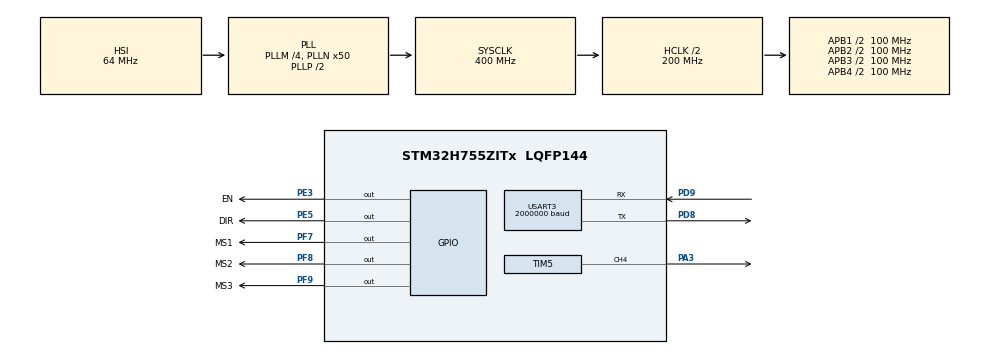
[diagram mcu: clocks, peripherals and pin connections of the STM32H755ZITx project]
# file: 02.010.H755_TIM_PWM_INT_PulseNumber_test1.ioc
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CortexM4.IPs=FATFS_M4\:I,FREERTOS_M4\:I,IWDG2\:I,RCC,WWDG2\:I,DMA,BDMA,MDMA,NVIC2\:I,ETH,DEBUG,PDM2PCM_M4\:I,PWR,RESMGR_UTILITY,SYS_M4\:I,USB_DEVICE_M4\:I,USB_HOST_M4\:I,CORTEX_M4\:I,GPIO,OPENAMP_M4\:I,VREFBUF,NUCLEO-H755ZI-Q
CortexM7.IPs=FATFS_M7\:I,FREERTOS_M7\:I,IWDG1\:I,RCC\:I,WWDG1\:I,DMA\:I,BDMA\:I,MDMA\:I,NVIC1\:I,ETH\:I,USB_OTG_FS\:I,SYS\:I,CORTEX_M7\:I,DEBUG\:I,PDM2PCM_M7\:I,PWR\:I,RESMGR_UTILITY\:I,USB_DEVICE_M7\:I,USB_HOST_M7\:I,GPIO\:I,OPENAMP_M7\:I,VREFBUF\:I,NUCLEO-H755ZI-Q\:I,TIM5\:I,USART3\:I
CortexM7.Pins=PE3,PE5,PF7,PF8,PF9
Dma.Request0=USART3_TX
Dma.Request1=USART3_RX
Dma.USART3_RX.1.Direction=DMA_PERIPH_TO_MEMORY
Dma.USART3_RX.1.EventEnable=DISABLE
Dma.USART3_RX.1.FIFOMode=DMA_FIFOMODE_DISABLE
Dma.USART3_RX.1.Instance=DMA1_Stream1
Dma.USART3_RX.1.MemDataAlignment=DMA_MDATAALIGN_BYTE
Dma.USART3_RX.1.MemInc=DMA_MINC_ENABLE
Dma.USART3_RX.1.Mode=DMA_CIRCULAR
Dma.USART3_RX.1.PeriphDataAlignment=DMA_PDATAALIGN_BYTE
Dma.USART3_RX.1.PeriphInc=DMA_PINC_DISABLE
Dma.USART3_RX.1.Polarity=HAL_DMAMUX_REQ_GEN_RISING
Dma.USART3_RX.1.Priority=DMA_PRIORITY_LOW
Dma.USART3_RX.1.RequestNumber=1
Dma.USART3_RX.1.SignalID=NONE
Dma.USART3_RX.1.SyncEnable=DISABLE
Dma.USART3_RX.1.SyncPolarity=HAL_DMAMUX_SYNC_NO_EVENT
Dma.USART3_RX.1.SyncRequestNumber=1
Dma.USART3_RX.1.SyncSignalID=NONE
Dma.USART3_TX.0.Direction=DMA_MEMORY_TO_PERIPH
Dma.USART3_TX.0.EventEnable=DISABLE
Dma.USART3_TX.0.FIFOMode=DMA_FIFOMODE_DISABLE
Dma.USART3_TX.0.Instance=DMA1_Stream0
Dma.USART3_TX.0.MemDataAlignment=DMA_MDATAALIGN_BYTE
Dma.USART3_TX.0.MemInc=DMA_MINC_ENABLE
Dma.USART3_TX.0.Mode=DMA_NORMAL
Dma.USART3_TX.0.PeriphDataAlignment=DMA_PDATAALIGN_BYTE
Dma.USART3_TX.0.PeriphInc=DMA_PINC_DISABLE
Dma.USART3_TX.0.Polarity=HAL_DMAMUX_REQ_GEN_RISING
Dma.USART3_TX.0.Priority=DMA_PRIORITY_LOW
Dma.USART3_TX.0.RequestNumber=1
Dma.USART3_TX.0.SignalID=NONE
Dma.USART3_TX.0.SyncEnable=DISABLE
Dma.USART3_TX.0.SyncPolarity=HAL_DMAMUX_SYNC_NO_EVENT
Dma.USART3_TX.0.SyncRequestNumber=1
Dma.USART3_TX.0.SyncSignalID=NONE
Mcu.Family=STM32H7
Mcu.Name=STM32H755ZITx
Mcu.Package=LQFP144
NVIC1.DMA1_Stream0_IRQn=true\:3\:0\:true\:false\:true\:false\:true\:true
NVIC1.DMA1_Stream1_IRQn=true\:3\:0\:true\:false\:true\:false\:true\:true
NVIC1.PriorityGroup=NVIC_PRIORITYGROUP_4
NVIC1.TIM5_IRQn=true\:1\:0\:true\:false\:true\:true\:true\:true
NVIC1.USART3_IRQn=true\:3\:0\:true\:false\:true\:true\:true\:true
NVIC2.PriorityGroup=NVIC_PRIORITYGROUP_4
PA3.PinAttribute=CortexM7
PA3.Signal=S_TIM5_CH4
PB0.TagName=LD1
PB14.TagName=LD3
PC13.TagName=BUTTON
PD8.Mode=Asynchronous
PD8.PinAttribute=CortexM7
PD8.Signal=USART3_TX
PD8.TagName=VCP_RX
PD9.Mode=Asynchronous
PD9.PinAttribute=CortexM7
PD9.Signal=USART3_RX
PD9.TagName=VCP_TX
PE1.TagName=LD2
PE3.GPIO_Label=EN
PE3.GPIO_Speed=GPIO_SPEED_FREQ_HIGH
PE3.PinAttribute=CortexM7
PE3.Signal=GPIO_Output
PE5.GPIO_Label=DIR
PE5.GPIO_Speed=GPIO_SPEED_FREQ_HIGH
PE5.PinAttribute=CortexM7
PE5.Signal=GPIO_Output
PF7.GPIO_Label=MS1
PF7.GPIO_Speed=GPIO_SPEED_FREQ_HIGH
PF7.PinAttribute=CortexM7
PF7.Signal=GPIO_Output
PF8.GPIO_Label=MS2
PF8.GPIO_Speed=GPIO_SPEED_FREQ_HIGH
PF8.PinAttribute=CortexM7
PF8.Signal=GPIO_Output
PF9.GPIO_Label=MS3
PF9.GPIO_Speed=GPIO_SPEED_FREQ_HIGH
PF9.PinAttribute=CortexM7
PF9.Signal=GPIO_Output
ProjectManager.HeapSize=M4-0x200,M7-0x200
ProjectManager.StackSize=M4-0x400,M7-0x400
ProjectManager.TargetToolchain=STM32CubeIDE
RCC.ADCFreq_Value=129000000
RCC.APB1Freq_Value=100000000
RCC.APB2Freq_Value=100000000
RCC.APB3Freq_Value=100000000
RCC.APB4Freq_Value=100000000
RCC.CortexFreq_Value=400000000
RCC.D1PPRE=RCC_APB3_DIV2
RCC.D2PPRE1=RCC_APB1_DIV2
RCC.D2PPRE2=RCC_APB2_DIV2
RCC.D3PPRE=RCC_APB4_DIV2
RCC.DIVM1=4
RCC.DIVN1=50
RCC.DIVQ1=5
RCC.HCLKFreq_Value=200000000
RCC.HPRE=RCC_HCLK_DIV2
RCC.PLL2FRACN=0
RCC.PLL3FRACN=0
RCC.PLLFRACN=0
RCC.SYSCLKFreq_VALUE=400000000
RCC.SYSCLKSource=RCC_SYSCLKSOURCE_PLLCLK
RCC.SupplySource=PWR_DIRECT_SMPS_SUPPLY
RCC.USBFreq_Value=160000000
SH.S_TIM5_CH4.0=TIM5_CH4,PWM Generation4 CH4
TIM5.Channel-PWM\ Generation4\ CH4=TIM_CHANNEL_4
TIM5.Period=199999
TIM5.Pulse-PWM\ Generation4\ CH4=99999
TIM5.TIM_MasterOutputTrigger=TIM_TRGO_UPDATE
USART3.BaudRate=2000000
USART3.VirtualMode-Asynchronous=VM_ASYNC
VP_SYS_M4_VS_Systick.Mode=SysTick
VP_TIM5_VS_ClockSourceINT.Mode=Internal
board=NUCLEO-H755ZI-Q

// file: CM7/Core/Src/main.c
/* USER CODE BEGIN Header */
/**
  ******************************************************************************
  * @file           : main.c
  * @brief          : Main program body
  ******************************************************************************
  * @attention
  *
  * Copyright (c) 2025 STMicroelectronics.
  * All rights reserved.
  *
  * This software is licensed under terms that can be found in the LICENSE file
  * in the root directory of this software component.
  * If no LICENSE file comes with this software, it is provided AS-IS.
  *
  ******************************************************************************
  */
/* USER CODE END Header */
#include "main.h"
#include "dma.h"
#include "tim.h"
#include "usart.h"
#include "gpio.h"

/* USER CODE BEGIN PD */

/* DUAL_CORE_BOOT_SYNC_SEQUENCE: Define for dual core boot synchronization    */
/*                             demonstration code based on hardware semaphore */
/* This define is present in both CM7/CM4 projects                            */
/* To comment when developping/debugging on a single core                     */
#define DUAL_CORE_BOOT_SYNC_SEQUENCE

#if defined(DUAL_CORE_BOOT_SYNC_SEQUENCE)
#ifndef HSEM_ID_0
#define HSEM_ID_0 (0U) /* HW semaphore 0*/
#endif
#endif /* DUAL_CORE_BOOT_SYNC_SEQUENCE */

/* USER CODE END PD */

void SystemClock_Config(void);

/* USER CODE BEGIN 0 */
extern UART_HandleTypeDef huart3;
extern DMA_HandleTypeDef hdma_usart3_tx;
extern DMA_HandleTypeDef hdma_usart3_rx;

uint8_t dma_rx_buffer[64];
uint8_t dma_tx_buffer[64];
uint16_t old_pos = 0;

static volatile bool uart_tx_busy = false;
static char uartBuffer[250];

volatile uint32_t step_target = 0;
volatile uint32_t step_counter = 0;
volatile uint8_t is_moving = 0;

typedef enum
{
    STEP_FULL  = 1,
    STEP_HALF  = 2,
    STEP_QUART = 4,
    STEP_EIGHTH= 8,
    STEP_SIXTEEN = 16
} MicrostepMode_t;

#define MOTOR_FULL_STEPS_PER_REV   200

typedef struct
{
    MicrostepMode_t microstep;
    uint32_t rpm;
    uint32_t frequency;  // derived frequency for TIM
} StepperMotor_t;

StepperMotor_t motor = {
    .microstep = STEP_FULL,
    .rpm = 0,
    .frequency = 0
};

uint32_t Stepper_CalcFrequency(uint32_t rpm, MicrostepMode_t micro)
{
    uint32_t effective_steps = MOTOR_FULL_STEPS_PER_REV * micro;

    // F = RPM × StepsPerRev / 60
    uint32_t freq = (rpm * effective_steps) / 60;

    // No zero frequency allowed
    return (freq < 1) ? 1 : freq;
}

void Stepper_SetFrequency(uint32_t freq)
{
	if (freq == 0) return;

    uint32_t timer_clk = 200000000;    //system clock
    uint32_t period = (timer_clk / freq) - 1;

    __HAL_TIM_SET_AUTORELOAD(&htim5, period);
    __HAL_TIM_SET_COMPARE(&htim5, TIM_CHANNEL_1, period / 2);
}

void Stepper_SetRPM(uint32_t rpm)
{
    if (rpm > 120) rpm = 120; // safety cap

    motor.rpm = rpm;
    motor.frequency = Stepper_CalcFrequency(rpm, motor.microstep);

    Stepper_SetFrequency(motor.frequency);   // updates TIM5 PWM
}

uint32_t Stepper_DegreesToSteps(float degrees)
{
    float steps_per_rev = 200.0f * motor.microstep;
    return (uint32_t)((degrees / 360.0f) * steps_per_rev);
}

void Stepper_SetMicrostep(MicrostepMode_t micro)
{
    motor.microstep = micro;

    // Set GPIO pins (MS1 PF7, MS2 PF8, MS3 PF9)
    switch(micro)
    {
        case STEP_FULL:
            HAL_GPIO_WritePin(GPIOF, GPIO_PIN_7|GPIO_PIN_8|GPIO_PIN_9, GPIO_PIN_RESET);
            break;

        case STEP_HALF:
            HAL_GPIO_WritePin(GPIOF, GPIO_PIN_7, GPIO_PIN_SET);
            HAL_GPIO_WritePin(GPIOF, GPIO_PIN_8|GPIO_PIN_9, GPIO_PIN_RESET);
            break;

        case STEP_QUART:
            HAL_GPIO_WritePin(GPIOF, GPIO_PIN_8, GPIO_PIN_SET);
            HAL_GPIO_WritePin(GPIOF, GPIO_PIN_7|GPIO_PIN_9, GPIO_PIN_RESET);
            break;

        case STEP_EIGHTH:
            HAL_GPIO_WritePin(GPIOF, GPIO_PIN_7|GPIO_PIN_8, GPIO_PIN_SET);
            HAL_GPIO_WritePin(GPIOF, GPIO_PIN_9, GPIO_PIN_RESET);
            break;

        case STEP_SIXTEEN:
            HAL_GPIO_WritePin(GPIOF, GPIO_PIN_7|GPIO_PIN_8|GPIO_PIN_9, GPIO_PIN_SET);
            break;
    }

//    // Recalculate the final PWM frequency for TIM5
//    motor.frequency = Stepper_CalcFrequency(motor.rpm, micro);
//
//    Stepper_SetFrequency(motor.frequency);
}

void DebugPrint(const char *format, ...)
{
	// Wait for previous transmission to complete
	    while (uart_tx_busy);

	    va_list args;
	    va_start(args, format);
	    vsnprintf(uartBuffer, sizeof(uartBuffer), format, args);
	    va_end(args);

	    uart_tx_busy = true;

	    HAL_UART_Transmit_DMA(&huart3, (uint8_t *)uartBuffer, strlen(uartBuffer));
}

void check_dma_data(void)
{
    static uint32_t total_pos = 0;  // new: global linear counter

    uint16_t pos = sizeof(dma_rx_buffer) - __HAL_DMA_GET_COUNTER(&hdma_usart3_rx);

    if (pos != old_pos)
    {
        if (pos > old_pos)
        {
            // Normal forward move (no wrap)
            for (uint16_t i = old_pos; i < pos; i++)
            {
                DebugPrint("\r\nGot: '%c' (0x%02X) at pos %lu\r\n\r\n",
                           dma_rx_buffer[i], dma_rx_buffer[i], total_pos++);
            }
        }
        else
        {
            // Wrapped around — handle end part and restart from 0
            for (uint16_t i = old_pos; i < sizeof(dma_rx_buffer); i++)
            {
                DebugPrint("\r\nGot: '%c' (0x%02X) at pos %lu\r\n\r\n",
                           dma_rx_buffer[i], dma_rx_buffer[i], total_pos++);
            }
            for (uint16_t i = 0; i < pos; i++)
            {
                DebugPrint("\r\nGot: '%c' (0x%02X) at pos %lu\r\n\r\n",
                           dma_rx_buffer[i], dma_rx_buffer[i], total_pos++);
            }
        }

        old_pos = pos;
    }
}

void stepperMotor_EN_ENABLE(void)
{
	HAL_GPIO_WritePin(GPIOE, GPIO_PIN_3, GPIO_PIN_RESET);
}

void stepperMotor_EN_DISABLE(void)
{
	HAL_GPIO_WritePin(GPIOE, GPIO_PIN_3, GPIO_PIN_SET);
}

void stepperMotor_SLP_ENABLE(void)
{

}

void stepperMotor_SLP_DISABLE(void)
{

}

void stepperMotor_RST_ENABLE(void)
{

}

void stepperMotor_RST_DISABLE(void)
{

}

void stepperMotor_DIR_CCW(void)
{
	HAL_GPIO_WritePin(GPIOE, GPIO_PIN_5, GPIO_PIN_RESET);
}

void stepperMotor_DIR_CW(void)
{
	HAL_GPIO_WritePin(GPIOE, GPIO_PIN_5, GPIO_PIN_SET);
}

void A4988_SetMicrostepping_Default(void)
{
    HAL_GPIO_WritePin(GPIOF, GPIO_PIN_7, GPIO_PIN_RESET);  // MS1 → PF7
    HAL_GPIO_WritePin(GPIOF, GPIO_PIN_8, GPIO_PIN_RESET);  // MS2 → PF8
    HAL_GPIO_WritePin(GPIOF, GPIO_PIN_9, GPIO_PIN_RESET);  // MS3 → PF9
}

void Stepper_MoveDegrees(float degrees, uint32_t rpm)
{
    step_target = Stepper_DegreesToSteps(degrees);
    step_counter = 0;
    is_moving = 1;

    Stepper_SetRPM(rpm);               // frequency
    HAL_TIM_PWM_Start_IT(&htim5, TIM_CHANNEL_4);
}

/* USER CODE END 0 */

int main(void)
{

/* USER CODE BEGIN Boot_Mode_Sequence_0 */
#if defined(DUAL_CORE_BOOT_SYNC_SEQUENCE)
  int32_t timeout;
#endif /* DUAL_CORE_BOOT_SYNC_SEQUENCE */
/* USER CODE END Boot_Mode_Sequence_0 */

/* USER CODE BEGIN Boot_Mode_Sequence_1 */
#if defined(DUAL_CORE_BOOT_SYNC_SEQUENCE)
  /* Wait until CPU2 boots and enters in stop mode or timeout*/
  timeout = 0xFFFF;
  while((__HAL_RCC_GET_FLAG(RCC_FLAG_D2CKRDY) != RESET) && (timeout-- > 0));
  if ( timeout < 0 )
  {
  Error_Handler();
  }
#endif /* DUAL_CORE_BOOT_SYNC_SEQUENCE */
/* USER CODE END Boot_Mode_Sequence_1 */
  /* MCU Configuration--------------------------------------------------------*/

  /* Reset of all peripherals, Initializes the Flash interface and the Systick. */
  HAL_Init();

  /* Configure the system clock */
  SystemClock_Config();
/* USER CODE BEGIN Boot_Mode_Sequence_2 */
#if defined(DUAL_CORE_BOOT_SYNC_SEQUENCE)
/* When system initialization is finished, Cortex-M7 will release Cortex-M4 by means of
HSEM notification */
/*HW semaphore Clock enable*/
__HAL_RCC_HSEM_CLK_ENABLE();
/*Take HSEM */
HAL_HSEM_FastTake(HSEM_ID_0);
/*Release HSEM in order to notify the CPU2(CM4)*/
HAL_HSEM_Release(HSEM_ID_0,0);
/* wait until CPU2 wakes up from stop mode */
timeout = 0xFFFF;
while((__HAL_RCC_GET_FLAG(RCC_FLAG_D2CKRDY) == RESET) && (timeout-- > 0));
if ( timeout < 0 )
{
Error_Handler();
}
#endif /* DUAL_CORE_BOOT_SYNC_SEQUENCE */
/* USER CODE END Boot_Mode_Sequence_2 */

  /* Initialize all configured peripherals */
  MX_GPIO_Init();
  MX_DMA_Init();
  MX_USART3_UART_Init();
  MX_TIM5_Init();
  /* USER CODE BEGIN 2 */
  DebugPrint("\r\n=== UART DMA RX Circular + TX Normal ===\r\n");
  DebugPrint("DMA started! Type something...\r\n");
  DebugPrint("1DMA started! Type something...\r\n");
  DebugPrint("2DMA started! Type something...\r\n");
  DebugPrint("3DMA started! Type something...\r\n");
  DebugPrint("4DMA started! Type something...\r\n");
  DebugPrint("5DMA started! Type something...\r\n");

  stepperMotor_EN_DISABLE();
  A4988_SetMicrostepping_Default();
  stepperMotor_EN_ENABLE();
  stepperMotor_DIR_CW();

  HAL_UART_Receive_DMA(&huart3, dma_rx_buffer, sizeof(dma_rx_buffer));

  // Set microstep
  Stepper_SetMicrostep(STEP_FULL);

  Stepper_MoveDegrees(30.0f, 20);

  /*
   * PWM Frequency (Hz) = (RPM × StepsPerRev) / 60
   * Freq = RPM × 3.3333
   * because StepsPerRev = 200 per rev. 1.8 perstep
   * */
  /* USER CODE END 2 */

  /* Infinite loop */
  while (1)
  {

    /* USER CODE BEGIN 3 */
	  check_dma_data();

  }
  /* USER CODE END 3 */
}

void SystemClock_Config(void)
{
  RCC_OscInitTypeDef RCC_OscInitStruct = {0};
  RCC_ClkInitTypeDef RCC_ClkInitStruct = {0};

  /** Supply configuration update enable
  */
  HAL_PWREx_ConfigSupply(PWR_DIRECT_SMPS_SUPPLY);

  /** Configure the main internal regulator output voltage
  */
  __HAL_PWR_VOLTAGESCALING_CONFIG(PWR_REGULATOR_VOLTAGE_SCALE1);

  while(!__HAL_PWR_GET_FLAG(PWR_FLAG_VOSRDY)) {}

  /** Initializes the RCC Oscillators according to the specified parameters
  * in the RCC_OscInitTypeDef structure.
  */
  RCC_OscInitStruct.OscillatorType = RCC_OSCILLATORTYPE_HSI;
  RCC_OscInitStruct.HSIState = RCC_HSI_DIV1;
  RCC_OscInitStruct.HSICalibrationValue = RCC_HSICALIBRATION_DEFAULT;
  RCC_OscInitStruct.PLL.PLLState = RCC_PLL_ON;
  RCC_OscInitStruct.PLL.PLLSource = RCC_PLLSOURCE_HSI;
  RCC_OscInitStruct.PLL.PLLM = 4;
  RCC_OscInitStruct.PLL.PLLN = 50;
  RCC_OscInitStruct.PLL.PLLP = 2;
  RCC_OscInitStruct.PLL.PLLQ = 5;
  RCC_OscInitStruct.PLL.PLLR = 2;
  RCC_OscInitStruct.PLL.PLLRGE = RCC_PLL1VCIRANGE_3;
  RCC_OscInitStruct.PLL.PLLVCOSEL = RCC_PLL1VCOWIDE;
  RCC_OscInitStruct.PLL.PLLFRACN = 0;
  if (HAL_RCC_OscConfig(&RCC_OscInitStruct) != HAL_OK)
  {
    Error_Handler();
  }

  /** Initializes the CPU, AHB and APB buses clocks
  */
  RCC_ClkInitStruct.ClockType = RCC_CLOCKTYPE_HCLK|RCC_CLOCKTYPE_SYSCLK
                              |RCC_CLOCKTYPE_PCLK1|RCC_CLOCKTYPE_PCLK2
                              |RCC_CLOCKTYPE_D3PCLK1|RCC_CLOCKTYPE_D1PCLK1;
  RCC_ClkInitStruct.SYSCLKSource = RCC_SYSCLKSOURCE_PLLCLK;
  RCC_ClkInitStruct.SYSCLKDivider = RCC_SYSCLK_DIV1;
  RCC_ClkInitStruct.AHBCLKDivider = RCC_HCLK_DIV2;
  RCC_ClkInitStruct.APB3CLKDivider = RCC_APB3_DIV2;
  RCC_ClkInitStruct.APB1CLKDivider = RCC_APB1_DIV2;
  RCC_ClkInitStruct.APB2CLKDivider = RCC_APB2_DIV2;
  RCC_ClkInitStruct.APB4CLKDivider = RCC_APB4_DIV2;

  if (HAL_RCC_ClockConfig(&RCC_ClkInitStruct, FLASH_LATENCY_2) != HAL_OK)
  {
    Error_Handler();
  }
}

/* USER CODE BEGIN 4 */
void HAL_UART_TxCpltCallback(UART_HandleTypeDef *huart)
{
    if (huart->Instance == USART3)
    {
        uart_tx_busy = false;  // Transmission complete
    }
}

void HAL_TIM_PWM_PulseFinishedCallback(TIM_HandleTypeDef *htim)
{
    if (htim->Instance == TIM5)
    {
        step_counter++;

        if (step_counter >= step_target)
        {
            HAL_TIM_PWM_Stop_IT(&htim5, TIM_CHANNEL_4);
            is_moving = 0;
        }
    }
}
/* USER CODE END 4 */

void Error_Handler(void)
{
  __disable_irq();
  while (1)
  {
  }
}
